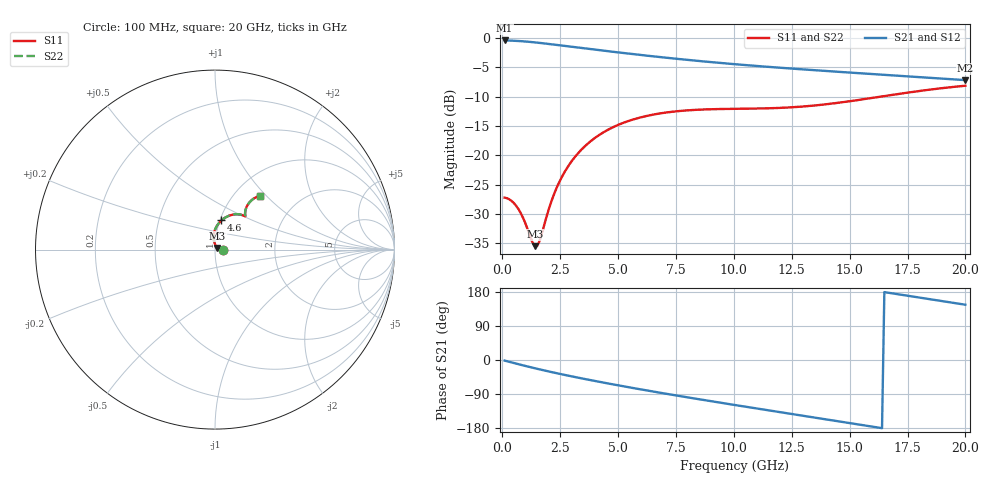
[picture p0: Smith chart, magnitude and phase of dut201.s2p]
! Created with skrf 1.9.0 (http://scikit-rf.org).
# GHz S RI R 50.0
!freq ReS11 ImS11 ReS21 ImS21 ReS12 ImS12 ReS22 ImS22
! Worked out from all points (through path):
!   200 points, 100 MHz to 20 GHz, reference 50 ohm
!   highest |S21| = -0.39 dB at 100 MHz (marker M1); lowest = -7.2 dB at 20 GHz (marker M2)
!   group delay of S21, straight-line fit = 28.6 ps
!   lowest |S11| = -35.5 dB at 1.4 GHz (marker M3), VSWR 1.03, Z = 51.4 + j0.993 ohm
!   |S11| at or under -10 dB: start of sweep to 16.3 GHz
!   |S22| runs from -35.5 to -8.1 dB; largest |S21 - S12| = 2e-15
!   S11 on the Smith chart (normalised r, x): 100 MHz: 1.09, -0.00; 4.6 GHz: 1.02, +0.34; 20 GHz: 1.30, +0.93
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0.1  0.0436 -0.000678  0.9556 -0.0269  0.9556 -0.0269  0.0436 -0.000678
0.4  0.0408 -0.00249  0.9466 -0.1063  0.9466 -0.1063  0.0408 -0.00249
0.7  0.0347 -0.00255  0.9281 -0.1826  0.9281 -0.1826  0.0347 -0.00255
0.9  0.0292 -0.00101  0.9111 -0.2308  0.9111 -0.2308  0.0292 -0.00101
1.3  0.0168 0.00674  0.8678 -0.3198  0.8678 -0.3198  0.0168 0.00674
1.4  0.0138 0.00966  0.8554 -0.3403  0.8554 -0.3403  0.0138 0.00966
1.5  0.0108 0.013  0.8425 -0.3601  0.8425 -0.3601  0.0108 0.013
1.6  0.00789 0.0166  0.8291 -0.3792  0.8291 -0.3792  0.00789 0.0166
2.1  -0.00334 0.0393  0.7569 -0.4644  0.7569 -0.4644  -0.00334 0.0393
2.5  -0.00743 0.0609  0.695 -0.5209  0.695 -0.5209  -0.00743 0.0609
3  -0.00586 0.0892  0.6151 -0.5784  0.6151 -0.5784  -0.00586 0.0892
3.5  0.00238 0.1162  0.5343 -0.6232  0.5343 -0.6232  0.00238 0.1162
4.6  0.0362 0.1629  0.3593 -0.684  0.3593 -0.684  0.0362 0.1629
5.6  0.074 0.1869  0.209 -0.7024  0.209 -0.7024  0.074 0.1869
6.8  0.115 0.1967  0.0454 -0.6887  0.0454 -0.6887  0.115 0.1967
8.4  0.1516 0.1923  -0.1395 -0.6259  -0.1395 -0.6259  0.1516 0.1923
10.1  0.1674 0.1853  -0.2931 -0.5217  -0.2931 -0.5217  0.1674 0.1853
11.8  0.1687 0.189  -0.4033 -0.3927  -0.4033 -0.3927  0.1687 0.189
13.4  0.1678 0.2057  -0.468 -0.258  -0.468 -0.258  0.1678 0.2057
15  0.1735 0.2319  -0.4946 -0.1191  -0.4946 -0.1191  0.1735 0.2319
16.7  0.1916 0.2626  -0.4829 0.0231  -0.4829 0.0231  0.1916 0.2626
20  0.2531 0.3004  -0.3631 0.2463  -0.3631 0.2463  0.2531 0.3004
